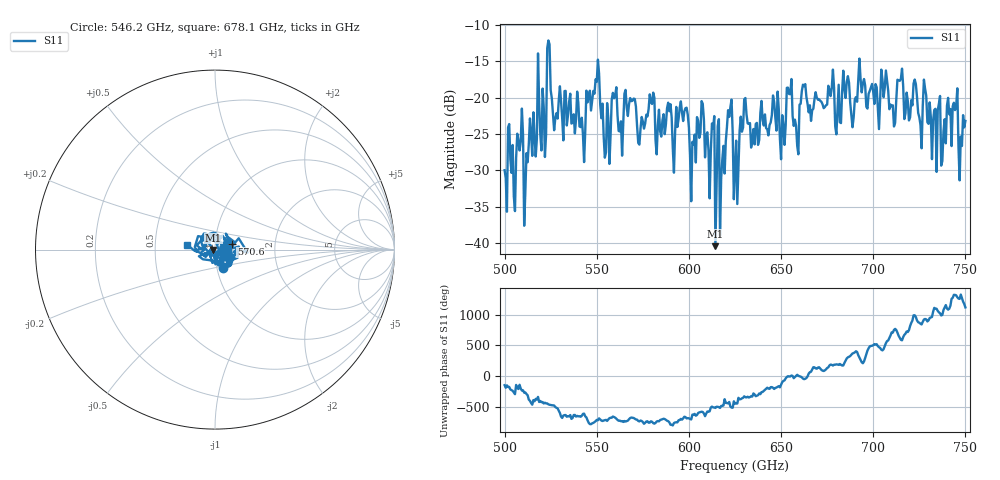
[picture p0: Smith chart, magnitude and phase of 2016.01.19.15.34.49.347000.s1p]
!Created with skrf (http://scikit-rf.org).
# GHz S RI R 50.0
!freq ReS11 ImS11
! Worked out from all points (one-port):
!   401 points, 500 GHz to 750 GHz, reference 50 ohm
!   lowest |S11| = -40.4 dB at 614.4 GHz (marker M1), VSWR 1.02, Z = 49.1 - j0.274 ohm
!   |S11| at or under -10 dB: start of sweep to end of sweep
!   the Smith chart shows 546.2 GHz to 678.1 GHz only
!   S11 on the Smith chart (normalised r, x): 546.2 GHz: 1.06, -0.22; 570.6 GHz: 1.20, +0.08; 678.1 GHz: 0.73, +0.04
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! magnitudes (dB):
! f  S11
! 500 GHz  -30.0
! 508.1 GHz  -27.3
! 511.9 GHz  -27.6
! 519.4 GHz  -25.1
! 521.2 GHz  -21.4
! 524.4 GHz  -12.7
! 527.5 GHz  -22.9
! 531.2 GHz  -22.9
! 542.5 GHz  -25.0
! 546.2 GHz  -19.1
! 550.6 GHz  -14.8
! 555.6 GHz  -20.8
! 559.4 GHz  -20.1
! 562.5 GHz  -24.7
! 570.6 GHz  -20.2
! 593.8 GHz  -24.0
! 614.4 GHz  -40.4
! 618.1 GHz  -28.5
! 621.9 GHz  -22.7
! 625 GHz  -29.7
! 629.4 GHz  -24.1
! 656.2 GHz  -22.5
! 678.1 GHz  -16.2
! 687.5 GHz  -20.7
! 710.6 GHz  -21.1
! 714.4 GHz  -17.7
! 718.8 GHz  -20.5
! 750 GHz  -23.2
